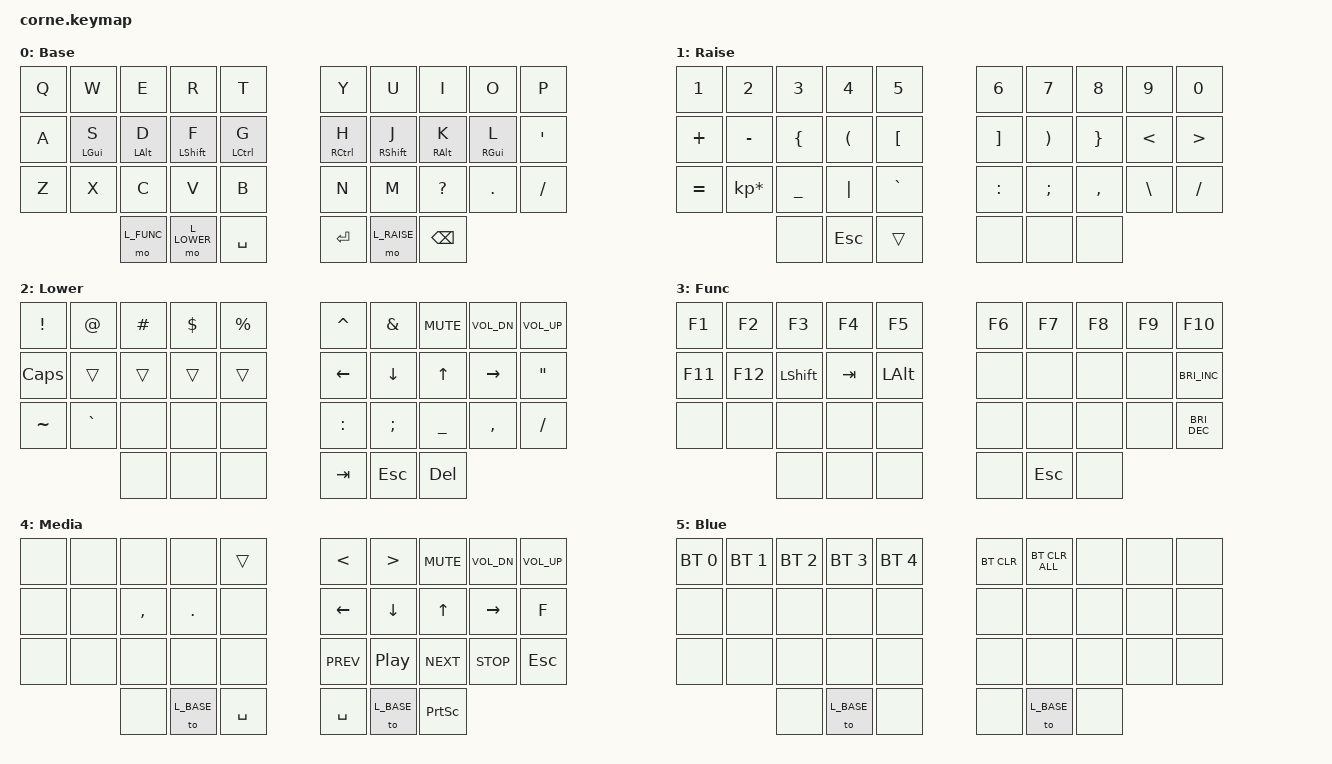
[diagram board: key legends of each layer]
/*
 * Copyright (c) 2020 The ZMK Contributors
 *
 * SPDX-License-Identifier: MIT
 */

#include <behaviors.dtsi>
#include <dt-bindings/zmk/keys.h>
#include <dt-bindings/zmk/bt.h>

#define L_BASE 0
#define L_RAISE 1
#define L_LOWER 2
#define L_FUNC 3
#define L_MEDIA 4
#define L_BLUETOOTH 5

/ {
        chosen {
                zmk,physical-layout = &foostan_corne_5col_layout;
        };

        behaviors {

                hml: home_row_mod_left {
                        compatible = "zmk,behavior-hold-tap";
                        #binding-cells = <2>;
                        flavor = "balanced";
                        require-prior-idle-ms = <150>;
                        tapping-term-ms = <280>;
                        quick-tap-ms = <175>;
                        bindings = <&kp>, <&kp>;
                        hold-trigger-key-positions = <15 16 17 18 19 20 21 22 23 24 25 26 27 28 29>;
                        hold-trigger-on-release;
                };

                hmr: home_row_mod_right {
                        compatible = "zmk,behavior-hold-tap";
                        #binding-cells = <2>;
                        flavor = "balanced";
                        require-prior-idle-ms = <150>;
                        tapping-term-ms = <280>;
                        quick-tap-ms = <175>;
                        bindings = <&kp>, <&kp>;
                        hold-trigger-key-positions = <0 1 2 3 4 5 6 7 8 9 10 11 12 13 14>;
                        hold-trigger-on-release;
                };

        };

        combos {
                compatible = "zmk,combos";

                combo_escape_key {
                        timeout-ms = <50>;
                        key-positions = <0 1>;
                        bindings = <&kp ESC>;
                };

                combo_delete_key {
                        timeout-ms = <50>;
                        key-positions = <8 9>;
                        bindings = <&kp DEL>;
                };

                combo_media_layer {
                        timeout-ms = <50>;
                        key-positions = <16 34>;
                        bindings = <&to L_MEDIA>;
                };

                combo_bluetooth_layer {
                        timeout-ms = <50>;
                        key-positions = <24 25>;
                        bindings = <&to L_BLUETOOTH>;
                };

        };

        keymap {
                compatible = "zmk,keymap";

                base {
                        display-name = "Base";
                        bindings = <
                        &kp Q         &kp       W     &kp       E   &kp        R  &kp        T                  &kp        Y  &kp        U   &kp       I &kp       O  &kp P
                        &kp A         &hml LGUI S     &hml LALT D   &hml LSHFT F  &hml LCTRL G                  &hmr RCTRL H  &hmr RSHFT J   &hmr RALT K &hmr RGUI L  &kp SQT
                        &kp Z         &kp       X     &kp       C   &kp        V  &kp        B                  &kp        N  &kp        M   &kp  QMARK  &kp  DOT     &kp FSLH
                                                      &mo  L_FUNC   &mo  L_LOWER  &kp  SPACE                    &kp  RET      &mo  L_RAISE   &kp  BSPC
                        >;
                };

                raise {
                        display-name = "Raise";
                        bindings = <
                        &kp N1        &kp N2          &kp N3        &kp N4        &kp N5                        &kp N6        &kp N7         &kp N8      &kp N9       &kp N0
                        &kp PLUS      &kp MINUS       &kp LBRC      &kp LPAR      &kp LBKT                      &kp RBKT      &kp RPAR       &kp RBRC    &kp LT       &kp GT
                        &kp EQUAL     &kp KP_MULTIPLY &kp UNDER     &kp PIPE      &kp GRAVE                     &kp COLON     &kp SEMI       &kp COMMA   &kp BSLH     &kp FSLH
                                                      &none         &kp ESC       &trans                        &none         &none          &none
                        >;
                };

                lower {
                        display-name = "Lower";
                        bindings = <
                        &kp EXCL      &kp AT          &kp HASH      &kp DLLR      &kp PRCNT                     &kp CARET     &kp AMPS       &kp C_MUTE  &kp C_VOL_DN &kp C_VOL_UP
                        &kp CAPS      &trans          &trans        &trans        &trans                        &kp LEFT      &kp DOWN       &kp UP      &kp RIGHT    &kp DQT
                        &kp TILDE     &kp GRAVE       &none         &none         &none                         &kp COLON     &kp SEMI       &kp UNDER   &kp COMMA    &kp FSLH
                                                      &none         &none         &none                         &kp TAB       &kp ESC        &kp DEL
                        >;
                };

                functions {
                        display-name = "Func";
                        bindings = <
                        &kp F1        &kp F2          &kp F3        &kp F4        &kp F5                        &kp F6        &kp F7         &kp F8      &kp F9       &kp F10
                        &kp F11       &kp F12         &kp LSHFT     &kp TAB       &kp LALT                      &none         &none          &none       &none        &kp C_BRI_INC
                        &none         &none           &none         &none         &none                         &none         &none          &none       &none        &kp C_BRI_DEC
                                                      &none         &none         &none                         &none         &kp ESC        &none
                        >;
                };

                media {
                        display-name = "Media";
                        bindings = <
                        &none         &none           &none         &none         &trans                        &kp LT        &kp GT         &kp C_MUTE  &kp C_VOL_DN &kp C_VOL_UP
                        &none         &none           &kp COMMA     &kp DOT       &none                         &kp LEFT      &kp DOWN       &kp UP      &kp RIGHT    &kp F
                        &none         &none           &none         &none         &none                         &kp C_PREV    &kp C_PP       &kp C_NEXT  &kp C_STOP   &kp ESC
                                                      &none         &to L_BASE    &kp SPACE                     &kp SPACE     &to L_BASE     &kp PSCRN
                        >;
                };

                bluetooth {
                        display-name = "Blue";
                        bindings = <
                        &bt BT_SEL 0  &bt BT_SEL 1    &bt BT_SEL 2  &bt BT_SEL 3  &bt BT_SEL 4                  &bt BT_CLR    &bt BT_CLR_ALL &none       &none        &none
                        &none         &none           &none         &none         &none                         &none         &none          &none       &none        &none
                        &none         &none           &none         &none         &none                         &none         &none          &none       &none        &none
                                                      &none         &to L_BASE    &none                         &none         &to L_BASE     &none
                        >;
                };

                // additional layers for use through ZMK Studio

                extra_1 {
                        status = "reserved";
                };

                extra_2 {
                        status = "reserved";
                };

                extra_3 {
                        status = "reserved";
                };

        };

};
